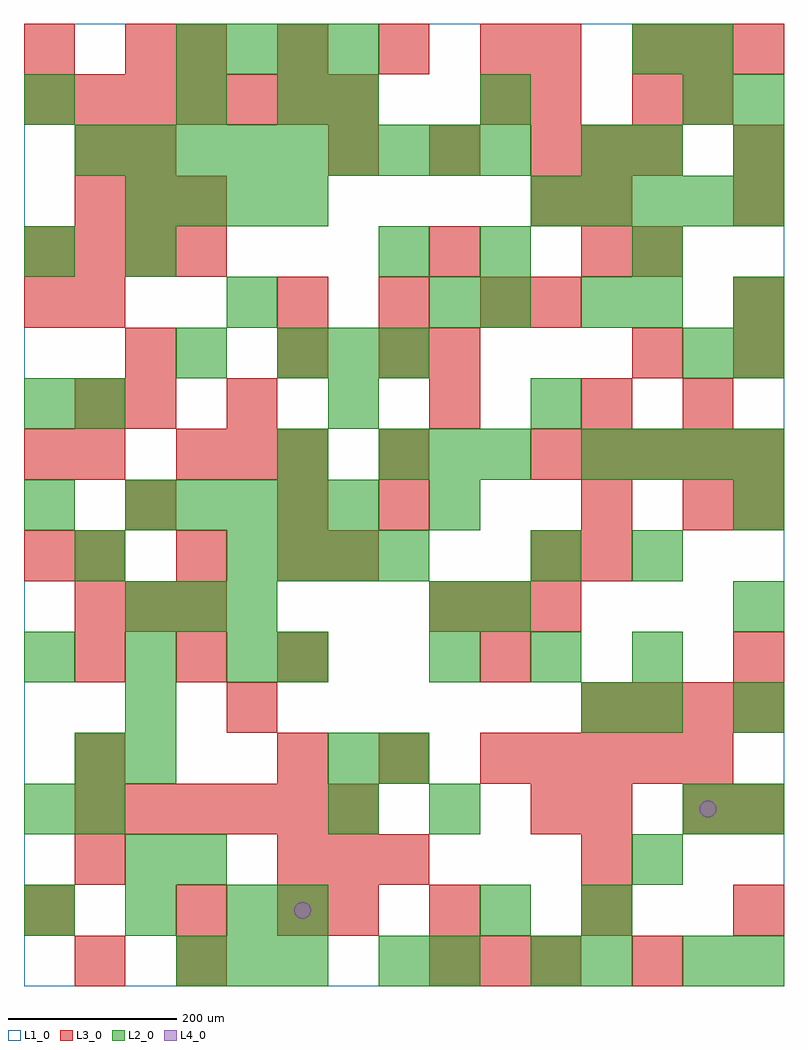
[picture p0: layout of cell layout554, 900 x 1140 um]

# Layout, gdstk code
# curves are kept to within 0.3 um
import gdstk
lib = gdstk.Library(unit=1e-6, precision=1e-09)
def R(c, l, rs):  # rectangles x0, y0, x1, y1
    for r in rs: c.add(gdstk.rectangle(r[:2], r[2:], *l))
def A(c, l, x, y, w, h, nx, ny, dx, dy):  # array of equal rectangles
    R(c, l, [(x+i*dx, y+j*dy, x+i*dx+w, y+j*dy+h) for i in range(nx) for j in range(ny)])
def P(c, l, *ps):  # polygons
    for p in ps: c.add(gdstk.Polygon(p, *l))
L1_0 = (1, 0)
L2_0 = (2, 0)
L3_0 = (3, 0)
L4_0 = (4, 0)

layout554 = lib.new_cell('layout554')
R(layout554, L1_0, [(0,0,900,1140)])
A(layout554, L2_0, 180, 0, 60, 60, 3, 1, 60, 0)
A(layout554, L2_0, 0, 60, 60, 60, 3, 2, 120, 300)
A(layout554, L2_0, 540, 60, 60, 60, 1, 3, 0, 360)
A(layout554, L2_0, 720, 120, 60, 60, 1, 3, 0, 180)
A(layout554, L2_0, 840, 180, 60, 60, 1, 4, 0, 120)
A(layout554, L2_0, 480, 360, 60, 60, 3, 1, 120, 0)
A(layout554, L2_0, 120, 420, 60, 60, 3, 1, 60, 0)
A(layout554, L2_0, 240, 480, 60, 60, 4, 1, 60, 0)
A(layout554, L2_0, 120, 540, 60, 60, 5, 1, 60, 0)
A(layout554, L2_0, 420, 600, 60, 60, 3, 1, 60, 0)
A(layout554, L2_0, 660, 600, 60, 60, 4, 1, 60, 0)
A(layout554, L2_0, 0, 660, 60, 60, 1, 3, 0, 180)
A(layout554, L2_0, 300, 720, 60, 60, 3, 1, 60, 0)
A(layout554, L2_0, 720, 840, 60, 60, 1, 3, 0, 120)
A(layout554, L2_0, 120, 900, 60, 60, 4, 1, 60, 0)
A(layout554, L2_0, 600, 900, 60, 60, 5, 1, 60, 0)
A(layout554, L2_0, 60, 960, 60, 60, 9, 1, 60, 0)
A(layout554, L2_0, 180, 1080, 60, 60, 4, 1, 60, 0)
R(layout554, L2_0, [(420,0,480,60), (480,0,540,60), (600,0,660,60), (660,0,720,60), (780,0,840,60), (840,0,900,60), (300,60,360,120), (660,60,720,120), (120,120,180,180), (180,120,240,180), (0,180,60,240), (60,180,120,240), (360,180,420,240), (480,180,540,240), (780,180,840,240), (60,240,120,300), (120,240,180,300), (360,240,420,300), (420,240,480,300), (120,300,180,360), (660,300,720,360), (300,360,360,420), (480,420,540,480), (60,480,120,540), (600,480,660,540), (0,540,60,600), (480,540,540,600), (300,600,360,660), (60,660,120,720), (360,660,420,720), (600,660,660,720), (180,720,240,780), (780,720,840,780), (840,720,900,780), (240,780,300,840), (480,780,540,840), (660,780,720,840), (720,780,780,840), (840,780,900,840), (120,840,180,900), (420,840,480,900), (540,840,600,900), (660,960,720,1020), (840,960,900,1020), (180,1020,240,1080), (300,1020,360,1080), (360,1020,420,1080), (540,1020,600,1080), (780,1020,840,1080), (840,1020,900,1080), (780,1080,840,1140)])
A(layout554, L3_0, 60, 0, 60, 60, 1, 3, 0, 120)
A(layout554, L3_0, 480, 0, 60, 60, 3, 2, 60, 420)
A(layout554, L3_0, 480, 60, 60, 60, 3, 1, 180, 0)
A(layout554, L3_0, 300, 120, 60, 60, 3, 1, 60, 0)
A(layout554, L3_0, 60, 180, 60, 60, 6, 1, 60, 0)
A(layout554, L3_0, 600, 180, 60, 60, 1, 3, 0, 300)
A(layout554, L3_0, 840, 180, 60, 60, 1, 4, 0, 180)
A(layout554, L3_0, 300, 240, 60, 60, 3, 2, 120, 540)
A(layout554, L3_0, 600, 240, 60, 60, 4, 1, 60, 0)
A(layout554, L3_0, 660, 300, 60, 60, 4, 1, 60, 0)
A(layout554, L3_0, 60, 360, 60, 60, 3, 2, 120, 120)
A(layout554, L3_0, 60, 420, 60, 60, 3, 2, 60, 480)
A(layout554, L3_0, 180, 600, 60, 60, 3, 1, 60, 0)
A(layout554, L3_0, 600, 600, 60, 60, 5, 1, 60, 0)
A(layout554, L3_0, 720, 720, 60, 60, 1, 3, 0, 120)
A(layout554, L3_0, 0, 840, 60, 60, 4, 1, 60, 0)
A(layout554, L3_0, 660, 840, 60, 60, 1, 3, 0, 60)
A(layout554, L3_0, 360, 960, 60, 60, 3, 1, 120, 0)
A(layout554, L3_0, 0, 1020, 60, 60, 7, 1, 60, 0)
A(layout554, L3_0, 180, 1080, 60, 60, 4, 1, 120, 0)
A(layout554, L3_0, 720, 1080, 60, 60, 3, 1, 60, 0)
R(layout554, L3_0, [(180,0,240,60), (720,0,780,60), (0,60,60,120), (180,60,240,120), (300,60,360,120), (360,60,420,120), (660,120,720,180), (660,180,720,240), (780,180,840,240), (240,300,300,360), (540,360,600,420), (0,480,60,540), (360,480,420,540), (660,480,720,540), (120,540,180,600), (300,540,360,600), (420,540,480,600), (660,540,720,600), (780,540,840,600), (0,600,60,660), (60,600,120,660), (420,600,480,660), (60,660,120,720), (120,660,180,720), (240,660,300,720), (480,660,540,720), (660,660,720,720), (780,660,840,720), (120,720,180,780), (300,720,360,780), (420,720,480,780), (480,720,540,780), (0,780,60,840), (60,780,120,840), (840,780,900,840), (480,840,540,900), (600,900,660,960), (840,900,900,960), (60,960,120,1020), (120,960,180,1020), (840,960,900,1020), (540,1020,600,1080), (600,1020,660,1080), (720,1020,780,1080), (780,1020,840,1080), (0,1080,60,1140), (120,1080,180,1140), (600,1080,660,1140)])
P(layout554, L4_0, [(340,90),(339.239,93.827),(337.071,97.071),(333.827,99.239),(330,100),(326.173,99.239),(322.929,97.071),(320.761,93.827),(320,90),(320.761,86.173),(322.929,82.929),(326.173,80.761),(330,80),(333.827,80.761),(337.071,82.929),(339.239,86.173)],
  [(820,210),(819.239,213.827),(817.071,217.071),(813.827,219.239),(810,220),(806.173,219.239),(802.929,217.071),(800.761,213.827),(800,210),(800.761,206.173),(802.929,202.929),(806.173,200.761),(810,200),(813.827,200.761),(817.071,202.929),(819.239,206.173)])

lib.write_gds('layout554.gds')
